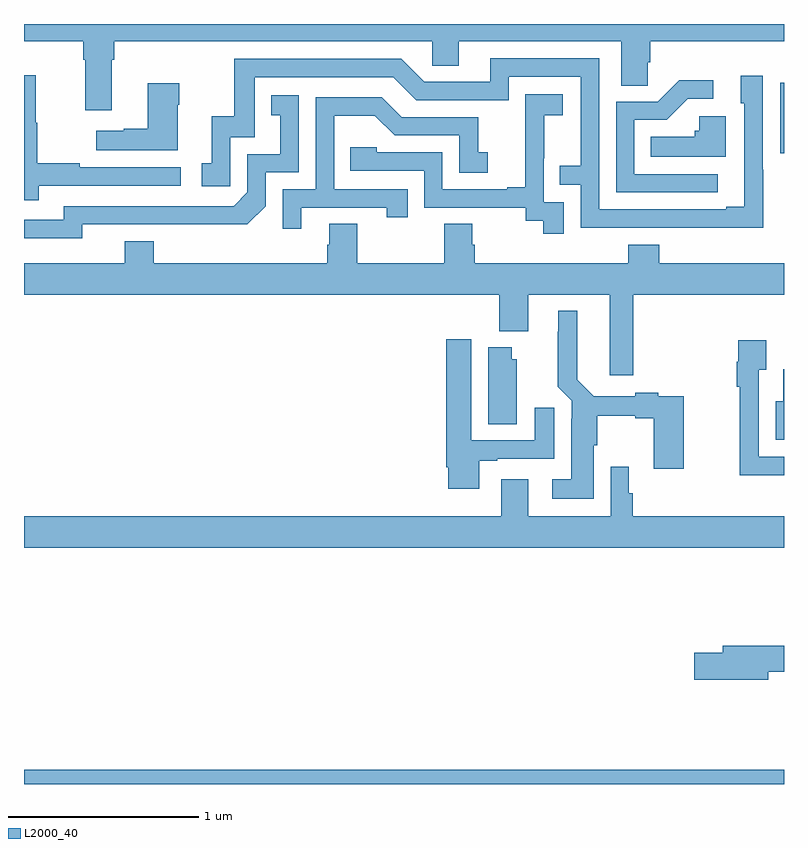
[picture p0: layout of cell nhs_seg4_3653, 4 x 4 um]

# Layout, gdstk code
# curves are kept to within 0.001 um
import gdstk
lib = gdstk.Library(unit=1e-6, precision=1e-09)
def R(c, l, rs):  # rectangles x0, y0, x1, y1
    for r in rs: c.add(gdstk.rectangle(r[:2], r[2:], *l))
def P(c, l, *ps):  # polygons
    for p in ps: c.add(gdstk.Polygon(p, *l))
L2000_40 = (2000, 40)

nhs_seg4_3653 = lib.new_cell('nhs_seg4_3653')
R(nhs_seg4_3653, L2000_40, [(303,804.9,307,804.976), (306.981,808.221,307,808.59)])
P(nhs_seg4_3653, L2000_40, [(303.463,808.712),(303.476,808.712),(303.476,808.808),(305.148,808.808),(305.148,808.681),(305.287,808.681),(305.287,808.808),(306.143,808.808),(306.143,808.576),(306.282,808.576),(306.282,808.699),(306.296,808.699),(306.296,808.808),(307,808.808),(307,808.9),(303,808.9),(303,808.808),(303.311,808.808),(303.311,808.712),(303.323,808.712),(303.323,808.446),(303.463,808.446)],
  [(306.891,808.133),(306.888,808.133),(306.888,808.627),(306.773,808.627),(306.773,808.482),(306.792,808.482),(306.792,807.937),(306.695,807.937),(306.695,807.924),(306.027,807.924),(306.027,808.719),(305.453,808.719),(305.453,808.596),(305.106,808.596),(304.986,808.716),(304.107,808.716),(304.107,808.414),(303.989,808.414),(303.989,808.167),(303.936,808.167),(303.936,808.047),(304.086,808.047),(304.086,808.305),(304.215,808.305),(304.215,808.62),(304.944,808.62),(305.064,808.5),(305.55,808.5),(305.55,808.623),(305.931,808.623),(305.931,808.154),(305.821,808.154),(305.821,808.053),(305.931,808.053),(305.931,807.828),(306.891,807.827)],
  [(303.077,808.05),(303.826,808.05),(303.826,808.146),(303.293,808.146),(303.293,808.166),(303.07,808.166),(303.07,808.38),(303.062,808.38),(303.062,808.63),(303,808.63),(303,807.972),(303.077,807.972)],
  [(306.652,808.11),(306.213,808.11),(306.213,808.395),(306.382,808.395),(306.493,808.506),(306.628,808.506),(306.628,808.604),(306.449,808.604),(306.336,808.491),(306.117,808.491),(306.117,808.014),(306.652,808.014)],
  [(303.808,808.475),(303.816,808.475),(303.816,808.588),(303.65,808.588),(303.65,808.349),(303.524,808.349),(303.524,808.339),(303.381,808.339),(303.381,808.235),(303.808,808.235)],
  [(305.841,807.963),(305.736,807.963),(305.736,808.193),(305.738,808.193),(305.738,808.421),(305.836,808.421),(305.836,808.531),(305.638,808.531),(305.638,808.325),(305.639,808.325),(305.639,808.042),(305.543,808.042),(305.543,808.029),(305.202,808.029),(305.202,808.224),(304.857,808.224),(304.857,808.251),(304.717,808.251),(304.717,808.128),(305.106,808.128),(305.106,807.933),(305.64,807.933),(305.64,807.865),(305.733,807.865),(305.733,807.795),(305.841,807.795)],
  [(303.306,807.846),(304.174,807.845),(304.272,807.942),(304.272,808.119),(304.446,808.119),(304.446,808.525),(304.3,808.525),(304.3,808.419),(304.349,808.419),(304.349,808.215),(304.176,808.215),(304.176,808.014),(304.104,807.942),(303.21,807.942),(303.21,807.87),(303,807.87),(303,807.773),(303.306,807.773)],
  [(304.459,807.933),(304.91,807.933),(304.91,807.882),(305.021,807.882),(305.021,808.029),(304.632,808.029),(304.632,808.418),(304.846,808.418),(304.95,808.314),(305.292,808.314),(305.292,808.116),(305.44,808.116),(305.44,808.225),(305.391,808.225),(305.391,808.41),(304.987,808.41),(304.882,808.515),(304.536,808.515),(304.536,808.029),(304.362,808.029),(304.362,807.822),(304.459,807.822)],
  [(306.694,808.414),(306.555,808.414),(306.555,808.338),(306.529,808.338),(306.529,808.306),(306.298,808.306),(306.298,808.202),(306.694,808.202)],
  [(306.206,807.476),(307,807.476),(307,807.64),(306.344,807.64),(306.344,807.739),(306.179,807.739),(306.179,807.64),(305.372,807.64),(305.372,807.738),(305.359,807.738),(305.359,807.848),(305.212,807.848),(305.212,807.64),(304.755,807.64),(304.755,807.848),(304.607,807.848),(304.607,807.738),(304.595,807.738),(304.595,807.64),(303.683,807.64),(303.683,807.757),(303.53,807.757),(303.53,807.64),(303,807.64),(303,807.476),(305.501,807.476),(305.501,807.284),(305.653,807.284),(305.653,807.476),(306.083,807.476),(306.083,807.051),(306.206,807.051)],
  [(305.998,806.682),(306.016,806.682),(306.016,806.839),(306.218,806.839),(306.218,806.824),(306.314,806.824),(306.314,806.559),(306.472,806.559),(306.472,806.94),(306.338,806.94),(306.338,806.96),(306.218,806.96),(306.218,806.94),(305.998,806.94),(305.911,807.028),(305.911,807.391),(305.813,807.391),(305.813,807.281),(305.809,807.281),(305.809,806.99),(305.883,806.916),(305.883,806.822),(305.879,806.822),(305.879,806.503),(305.781,806.503),(305.781,806.402),(305.998,806.402)],
  [(305.395,806.601),(305.491,806.601),(305.491,806.613),(305.791,806.613),(305.791,806.881),(305.687,806.881),(305.687,806.709),(305.353,806.709),(305.353,807.241),(305.222,807.241),(305.222,806.566),(305.234,806.566),(305.234,806.454),(305.395,806.454)],
  [(307,806.622),(306.867,806.622),(306.867,807.079),(306.907,807.079),(306.907,807.235),(306.759,807.235),(306.759,807.122),(306.751,807.122),(306.751,806.99),(306.766,806.99),(306.766,806.525),(307,806.525)],
  [(305.593,807.135),(305.566,807.135),(305.566,807.199),(305.444,807.199),(305.444,806.794),(305.593,806.794)],
  [(307,807.082),(306.995,807.082),(306.995,806.914),(306.956,806.914),(306.956,806.711),(307,806.711)],
  [(307,806.308),(306.203,806.308),(306.203,806.43),(306.184,806.43),(306.184,806.569),(306.087,806.569),(306.087,806.308),(305.653,806.308),(305.653,806.503),(305.513,806.503),(305.513,806.308),(303,806.308),(303,806.144),(307,806.144)],
  [(306.916,805.492),(307,805.492),(307,805.628),(306.677,805.628),(306.677,805.592),(306.528,805.592),(306.528,805.45),(306.916,805.45)])

lib.write_gds('nhs_seg4_3653.gds')
